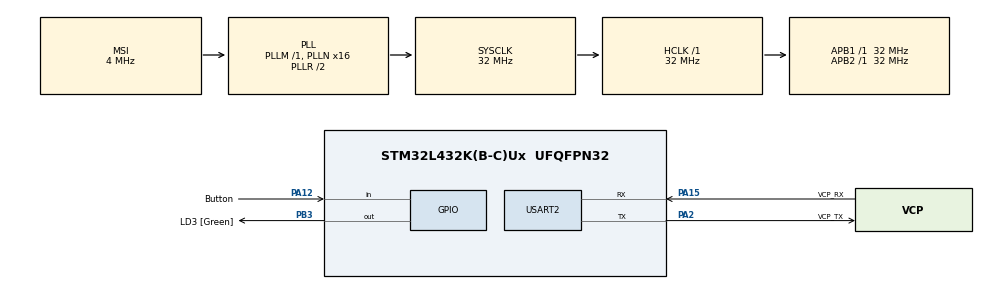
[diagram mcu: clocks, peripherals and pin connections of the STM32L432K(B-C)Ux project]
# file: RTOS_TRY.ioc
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FREERTOS.Mutexes01=uartMutex,Dynamic,NULL
FREERTOS.Tasks01=defaultTask,0,128,Thread1,Default,NULL,Dynamic,NULL,NULL;myTask02,-3,128,Thread2,Default,NULL,Dynamic,NULL,NULL
Mcu.Family=STM32L4
Mcu.Name=STM32L432K(B-C)Ux
Mcu.Package=UFQFPN32
NVIC.PriorityGroup=NVIC_PRIORITYGROUP_4
NVIC.TIM2_IRQn=true\:0\:0\:false\:false\:true\:false\:false\:true
NVIC.TimeBase=TIM2_IRQn
NVIC.TimeBaseIP=TIM2
PA0.GPIO_Label=MCO [High speed clock in]
PA0.Mode=HSE-External-Clock-Source-for-LittleOrca
PA0.Signal=RCC_CK_IN
PA12.GPIO_Label=Button
PA12.GPIO_PuPd=GPIO_PULLUP
PA12.Signal=GPIO_Input
PA13\ (JTMS-SWDIO).GPIO_Label=SWDIO
PA13\ (JTMS-SWDIO).Mode=Serial_Wire
PA13\ (JTMS-SWDIO).Signal=SYS_JTMS-SWDIO
PA14\ (JTCK-SWCLK).GPIO_Label=SWCLK
PA14\ (JTCK-SWCLK).Mode=Serial_Wire
PA14\ (JTCK-SWCLK).Signal=SYS_JTCK-SWCLK
PA15\ (JTDI).GPIO_Label=VCP_RX
PA15\ (JTDI).Mode=Asynchronous
PA15\ (JTDI).Signal=USART2_RX
PA2.GPIO_Label=VCP_TX
PA2.Mode=Asynchronous
PA2.Signal=USART2_TX
PB3\ (JTDO-TRACESWO).GPIO_Label=LD3 [Green]
PB3\ (JTDO-TRACESWO).Signal=GPIO_Output
PC14-OSC32_IN\ (PC14).Mode=LSE-External-Oscillator
PC14-OSC32_IN\ (PC14).Signal=RCC_OSC32_IN
PC15-OSC32_OUT\ (PC15).Mode=LSE-External-Oscillator
PC15-OSC32_OUT\ (PC15).Signal=RCC_OSC32_OUT
ProjectManager.HeapSize=0x200
ProjectManager.StackSize=0x400
ProjectManager.TargetToolchain=STM32CubeIDE
RCC.AHBFreq_Value=32000000
RCC.APB1Freq_Value=32000000
RCC.APB1TimFreq_Value=32000000
RCC.APB2Freq_Value=32000000
RCC.APB2TimFreq_Value=32000000
RCC.CortexFreq_Value=32000000
RCC.HCLKFreq_Value=32000000
RCC.HSE_VALUE=8000000
RCC.HSI16_VALUE=16000000
RCC.HSI48_VALUE=48000000
RCC.HSI_VALUE=16000000
RCC.MSI_VALUE=4000000
RCC.PLLMUL=RCC_PLLMUL_4
RCC.PLLN=16
RCC.SYSCLKFreq_VALUE=32000000
RCC.SYSCLKSource=RCC_SYSCLKSOURCE_PLLCLK
RCC.VCOOutputFreq_Value=64000000
USART2.VirtualMode-Asynchronous=VM_ASYNC
VP_FREERTOS_VS_CMSIS_V1.Mode=CMSIS_V1
VP_SYS_VS_tim2.Mode=TIM2
board=NUCLEO-L432KC

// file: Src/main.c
/* USER CODE BEGIN Header */
/**
  ******************************************************************************
  * @file           : main.c
  * @brief          : Main program body
  ******************************************************************************
  * @attention
  *
  * <h2><center>&copy; Copyright (c) 2019 STMicroelectronics.
  * All rights reserved.</center></h2>
  *
  * This software component is licensed by ST under BSD 3-Clause license,
  * the "License"; You may not use this file except in compliance with the
  * License. You may obtain a copy of the License at:
  *                        opensource.org/licenses/BSD-3-Clause
  *
  ******************************************************************************
  */
/* USER CODE END Header */

#include "main.h"
#include "cmsis_os.h"

UART_HandleTypeDef huart2;

osThreadId defaultTaskHandle;
osThreadId myTask02Handle;
osMutexId uartMutexHandle;
/* USER CODE BEGIN PV */
osThreadId myTask03Handle;
/* USER CODE END PV */

void SystemClock_Config(void);
static void MX_GPIO_Init(void);
static void MX_USART2_UART_Init(void);
void Thread1(void const * argument);
void Thread2(void const * argument);

/* USER CODE BEGIN PFP */
void Thread3(void const * argument);
/* USER CODE END PFP */

int main(void)
{

  /* MCU Configuration--------------------------------------------------------*/

  /* Reset of all peripherals, Initializes the Flash interface and the Systick. */
  HAL_Init();

  /* Configure the system clock */
  SystemClock_Config();

  /* Initialize all configured peripherals */
  MX_GPIO_Init();
  MX_USART2_UART_Init();

  /* Create the mutex(es) */
  /* definition and creation of uartMutex */
  osMutexDef(uartMutex);
  uartMutexHandle = osMutexCreate(osMutex(uartMutex));

  /* Create the thread(s) */
  /* definition and creation of defaultTask */
  osThreadDef(defaultTask, Thread1, osPriorityNormal, 0, 128);
  defaultTaskHandle = osThreadCreate(osThread(defaultTask), NULL);

  /* definition and creation of myTask02 */
  osThreadDef(myTask02, Thread2, osPriorityIdle, 0, 128);
  myTask02Handle = osThreadCreate(osThread(myTask02), NULL);

  /* USER CODE BEGIN RTOS_THREADS */
  /* add threads, ... */
  osThreadDef(myTask03, Thread3, osPriorityIdle, 0, 128);
  myTask03Handle = osThreadCreate(osThread(myTask03), NULL);

  /* USER CODE END RTOS_THREADS */

  /* Start scheduler */
  osKernelStart();

  /* We should never get here as control is now taken by the scheduler */

  /* Infinite loop */
  while (1)
  {

  }
}

void SystemClock_Config(void)
{
  RCC_OscInitTypeDef RCC_OscInitStruct = {0};
  RCC_ClkInitTypeDef RCC_ClkInitStruct = {0};
  RCC_PeriphCLKInitTypeDef PeriphClkInit = {0};

  /** Configure LSE Drive Capability
  */
  HAL_PWR_EnableBkUpAccess();
  __HAL_RCC_LSEDRIVE_CONFIG(RCC_LSEDRIVE_LOW);
  /** Initializes the CPU, AHB and APB busses clocks
  */
  RCC_OscInitStruct.OscillatorType = RCC_OSCILLATORTYPE_LSE|RCC_OSCILLATORTYPE_MSI;
  RCC_OscInitStruct.LSEState = RCC_LSE_ON;
  RCC_OscInitStruct.MSIState = RCC_MSI_ON;
  RCC_OscInitStruct.MSICalibrationValue = 0;
  RCC_OscInitStruct.MSIClockRange = RCC_MSIRANGE_6;
  RCC_OscInitStruct.PLL.PLLState = RCC_PLL_ON;
  RCC_OscInitStruct.PLL.PLLSource = RCC_PLLSOURCE_MSI;
  RCC_OscInitStruct.PLL.PLLM = 1;
  RCC_OscInitStruct.PLL.PLLN = 16;
  RCC_OscInitStruct.PLL.PLLP = RCC_PLLP_DIV7;
  RCC_OscInitStruct.PLL.PLLQ = RCC_PLLQ_DIV2;
  RCC_OscInitStruct.PLL.PLLR = RCC_PLLR_DIV2;
  if (HAL_RCC_OscConfig(&RCC_OscInitStruct) != HAL_OK)
  {
    Error_Handler();
  }
  /** Initializes the CPU, AHB and APB busses clocks
  */
  RCC_ClkInitStruct.ClockType = RCC_CLOCKTYPE_HCLK|RCC_CLOCKTYPE_SYSCLK
                              |RCC_CLOCKTYPE_PCLK1|RCC_CLOCKTYPE_PCLK2;
  RCC_ClkInitStruct.SYSCLKSource = RCC_SYSCLKSOURCE_PLLCLK;
  RCC_ClkInitStruct.AHBCLKDivider = RCC_SYSCLK_DIV1;
  RCC_ClkInitStruct.APB1CLKDivider = RCC_HCLK_DIV1;
  RCC_ClkInitStruct.APB2CLKDivider = RCC_HCLK_DIV1;

  if (HAL_RCC_ClockConfig(&RCC_ClkInitStruct, FLASH_LATENCY_1) != HAL_OK)
  {
    Error_Handler();
  }
  PeriphClkInit.PeriphClockSelection = RCC_PERIPHCLK_USART2;
  PeriphClkInit.Usart2ClockSelection = RCC_USART2CLKSOURCE_PCLK1;
  if (HAL_RCCEx_PeriphCLKConfig(&PeriphClkInit) != HAL_OK)
  {
    Error_Handler();
  }
  /** Configure the main internal regulator output voltage
  */
  if (HAL_PWREx_ControlVoltageScaling(PWR_REGULATOR_VOLTAGE_SCALE1) != HAL_OK)
  {
    Error_Handler();
  }
  /** Enable MSI Auto calibration
  */
  HAL_RCCEx_EnableMSIPLLMode();
}

static void MX_USART2_UART_Init(void)
{

  huart2.Instance = USART2;
  huart2.Init.BaudRate = 115200;
  huart2.Init.WordLength = UART_WORDLENGTH_8B;
  huart2.Init.StopBits = UART_STOPBITS_1;
  huart2.Init.Parity = UART_PARITY_NONE;
  huart2.Init.Mode = UART_MODE_TX_RX;
  huart2.Init.HwFlowCtl = UART_HWCONTROL_NONE;
  huart2.Init.OverSampling = UART_OVERSAMPLING_16;
  huart2.Init.OneBitSampling = UART_ONE_BIT_SAMPLE_DISABLE;
  huart2.AdvancedInit.AdvFeatureInit = UART_ADVFEATURE_NO_INIT;
  if (HAL_UART_Init(&huart2) != HAL_OK)
  {
    Error_Handler();
  }

}

static void MX_GPIO_Init(void)
{
  GPIO_InitTypeDef GPIO_InitStruct = {0};

  /* GPIO Ports Clock Enable */
  __HAL_RCC_GPIOC_CLK_ENABLE();
  __HAL_RCC_GPIOA_CLK_ENABLE();
  __HAL_RCC_GPIOB_CLK_ENABLE();

  /*Configure GPIO pin Output Level */
  HAL_GPIO_WritePin(LD3_GPIO_Port, LD3_Pin, GPIO_PIN_RESET);

  /*Configure GPIO pin : Button_Pin */
  GPIO_InitStruct.Pin = Button_Pin;
  GPIO_InitStruct.Mode = GPIO_MODE_INPUT;
  GPIO_InitStruct.Pull = GPIO_PULLUP;
  HAL_GPIO_Init(Button_GPIO_Port, &GPIO_InitStruct);

  /*Configure GPIO pin : LD3_Pin */
  GPIO_InitStruct.Pin = LD3_Pin;
  GPIO_InitStruct.Mode = GPIO_MODE_OUTPUT_PP;
  GPIO_InitStruct.Pull = GPIO_NOPULL;
  GPIO_InitStruct.Speed = GPIO_SPEED_FREQ_LOW;
  HAL_GPIO_Init(LD3_GPIO_Port, &GPIO_InitStruct);

}

void Thread1(void const * argument)
{

  /* USER CODE BEGIN 5 */
	uint8_t data[24] = " Hello from Thread 1\r\n";
  /* Infinite loop */
  for(;;)
  {
	  xSemaphoreTake(uartMutexHandle,portMAX_DELAY);
	  HAL_GPIO_TogglePin(LD3_GPIO_Port, LD3_Pin);
	  HAL_UART_Transmit(&huart2, data, 24,5);
	  xSemaphoreGive(uartMutexHandle);
	  osDelay(500);
  }
  /* USER CODE END 5 */
}

void Thread2(void const * argument)
{
  /* USER CODE BEGIN Thread2 */
	 uint8_t data[23] = " Hello from Thread 2\r\n";
  /* Infinite loop */
  for(;;)
  {
	  if(HAL_GPIO_ReadPin(Button_GPIO_Port, Button_Pin) == GPIO_PIN_RESET){

		  xTaskNotify(myTask03Handle, 0x01,eSetBits);
		  xSemaphoreTake(uartMutexHandle,portMAX_DELAY);
		  HAL_UART_Transmit(&huart2, data, 24,10);
		  xSemaphoreGive(uartMutexHandle);
	  }
	  osDelay(500);
  }
  /* USER CODE END Thread2 */
}

void Thread3(void const * argument)
{
  /* USER CODE BEGIN Thread2 */
	 uint8_t data[24] = " Hello from Thread 3\r\n";
	 uint32_t notifValue;
  /* Infinite loop */
  for(;;)
  {
	  xTaskNotifyWait(pdFALSE, 0xFF, &notifValue, portMAX_DELAY);
	  if((notifValue & 0x01) != 0x00){
	  xSemaphoreTake(uartMutexHandle,portMAX_DELAY);
	  HAL_UART_Transmit(&huart2, data, 24,10);
	  xSemaphoreGive(uartMutexHandle);
	  }
	  osDelay(500);
  }
  /* USER CODE END Thread2 */
}

void HAL_TIM_PeriodElapsedCallback(TIM_HandleTypeDef *htim)
{
  if (htim->Instance == TIM2) {
    HAL_IncTick();
  }
}

void Error_Handler(void)
{
}

/************************ (C) COPYRIGHT STMicroelectronics *****END OF FILE****/
